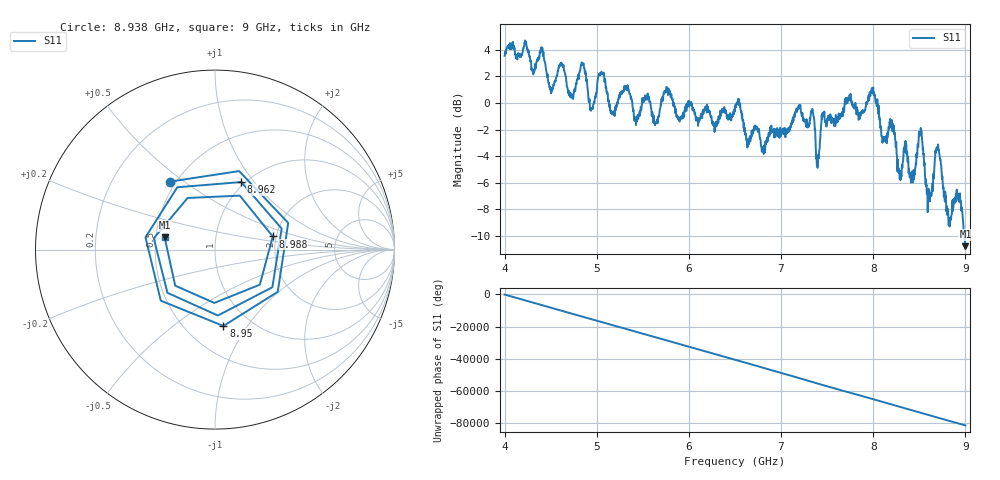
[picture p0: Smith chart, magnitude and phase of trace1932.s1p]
! Created with skrf 1.8.0 (http://scikit-rf.org).
# Hz S RI R 50.0
!freq ReS11 ImS11
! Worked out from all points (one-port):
!   1601 points, 4 GHz to 9 GHz, reference 50 ohm
!   lowest |S11| = -10.8 dB at 9 GHz (marker M1), VSWR 1.81, Z = 27.8 + j4.21 ohm
!   |S11| at or under -10 dB: 8.99115 GHz to end of sweep
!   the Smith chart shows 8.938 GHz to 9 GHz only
!   S11 on the Smith chart (normalised r, x): 8.938 GHz: 0.47, +0.45; 8.95 GHz: 0.75, -0.78; 8.962 GHz: 0.96, +0.86; 8.988 GHz: 1.92, +0.32; 9 GHz: 0.56, +0.08
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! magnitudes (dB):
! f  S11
! 4 GHz  3.5
! 4.625 GHz  2.9
! 4.725 GHz  0.5
! 4.85 GHz  2.9
! 4.941 GHz  -0.5
! 5.047 GHz  2.3
! 5.169 GHz  -0.9
! 5.25 GHz  0.4
! 5.875 GHz  -1.1
! 6.5 GHz  -0.3
! 6.806 GHz  -3.5
! 7.125 GHz  -1.5
! 7.338 GHz  -0.4
! 7.4 GHz  -4.3
! 7.459 GHz  -0.9
! 7.75 GHz  0.2
! 7.997 GHz  1.0
! 8.284 GHz  -5.4
! 8.375 GHz  -4.4
! 8.516 GHz  -1.9
! 8.606 GHz  -6.6
! 8.697 GHz  -3.4
! 8.819 GHz  -9.2
! 8.938 GHz  -6.9
! 8.95 GHz  -7.4
! 8.962 GHz  -7.9
! 8.988 GHz  -9.6
! 9 GHz  -10.8
